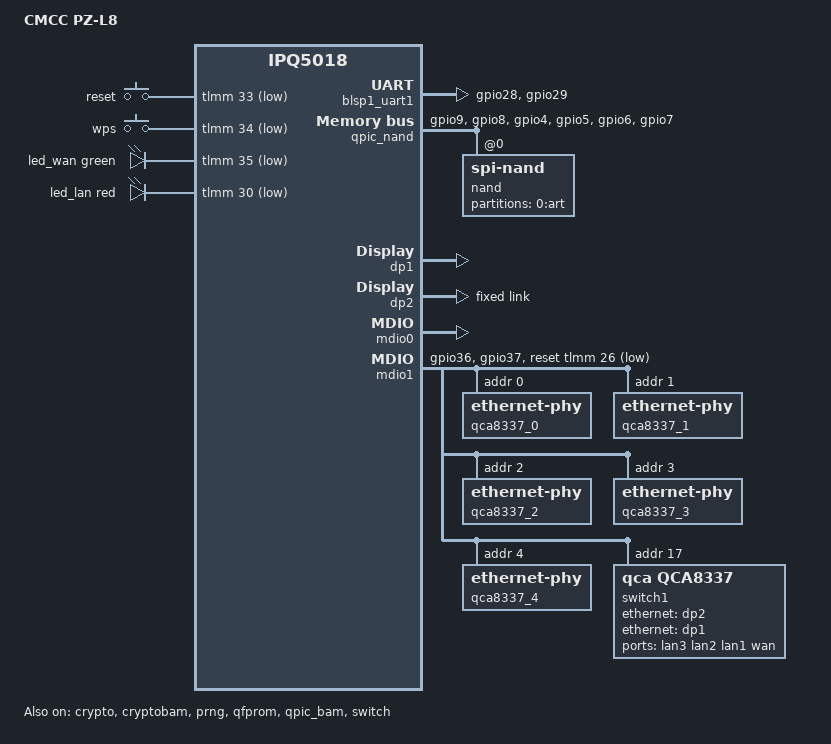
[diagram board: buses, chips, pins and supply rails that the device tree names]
// SPDX-License-Identifier: GPL-2.0-or-later OR MIT

/dts-v1/;

#include "ipq5018.dtsi"
#include "ipq5018-ess.dtsi"
#include "ipq5018-qcn6122.dtsi"

#include <dt-bindings/gpio/gpio.h>
#include <dt-bindings/input/input.h>
#include <dt-bindings/leds/common.h>

/ {
	model = "CMCC PZ-L8";
	compatible = "cmcc,pz-l8", "qcom,ipq5018";

	aliases {
		serial0 = &blsp1_uart1;
		led-boot = &led_wan;
		led-failsafe = &led_lan;
		led-running = &led_wan;
		led-upgrade = &led_lan;
		label-mac-device = <&dp1>;
	};

	chosen {
		bootargs-append = " root=/dev/ubiblock0_1 swiotlb=1 coherent_pool=2M";
		stdout-path = "serial0:115200n8";
	};

	keys {
		compatible = "gpio-keys";
		pinctrl-0 = <&button_pins>;
		pinctrl-names = "default";

		reset-button {
			label = "reset";
			gpios = <&tlmm 33 GPIO_ACTIVE_LOW>;
			linux,code = <KEY_RESTART>;
		};

		wps-button {
			label = "wps";
			gpios = <&tlmm 34 GPIO_ACTIVE_LOW>;
			linux,code = <KEY_WPS_BUTTON>;
		};
	};

	leds {
		compatible = "gpio-leds";
		pinctrl-0 = <&led_pins>;
		pinctrl-names = "default";

		led_wan: led-0 {
			gpios = <&tlmm 35 GPIO_ACTIVE_LOW>;
			color = <LED_COLOR_ID_GREEN>;
			function = LED_FUNCTION_WAN;
			default-state = "off";
		};

		led_lan: led-1 {
			gpios = <&tlmm 30 GPIO_ACTIVE_LOW>;
			color = <LED_COLOR_ID_RED>;
			function = LED_FUNCTION_LAN;
		};
	};
};

&sleep_clk {
	clock-frequency = <32000>;
};

&xo_board_clk {
	clock-div = <4>;
	clock-mult = <1>;
};

&blsp1_uart1 {
	status = "okay";

	pinctrl-0 = <&serial_0_pins>;
	pinctrl-names = "default";
};

&crypto {
	status = "okay";
};

&cryptobam {
	status = "okay";
};

&prng {
	status = "okay";
};

&qfprom {
	status = "okay";
};

&qpic_bam {
	status = "okay";
};

&qpic_nand {
	pinctrl-0 = <&qpic_pins>;
	pinctrl-names = "default";
	status = "okay";

	nand@0 {
		compatible = "spi-nand";
		reg = <0>;
		nand-ecc-engine = <&qpic_nand>;
		nand-bus-width = <8>;

		partitions {
			compatible = "qcom,smem-part";

			partition-art {
				label = "0:art";
				read-only;

				nvmem-layout {
					compatible = "fixed-layout";
					#address-cells = <1>;
					#size-cells = <1>;

					hw_mac_addr: mac-address@0 {
						compatible = "mac-base";
						reg = <0x0 0x6>;
						#nvmem-cell-cells = <1>;
					};
				};
			};
		};
	};
};

&switch {
	status = "okay";

	switch_mac_mode = <MAC_MODE_SGMII_CHANNEL0>;

	qcom,port_phyinfo {
		// MAC0 -> GE Phy --- MDI --- QCA8337 Phy4(Port5)
		port@1 {
			port_id = <1>;
			mdiobus = <&mdio0>;
			phy_address = <7>;
		};

		// MAC1 -> Uniphy --- SGMII --- QCA8337 SerDes(Port6)
		port@2 {
			port_id = <2>;
			mdiobus = <&mdio1>;
			forced-speed = <1000>;
			forced-duplex = <1>;
		};
	};
};

// MAC0 -> GE Phy
&dp1 {
	status = "okay";

	nvmem-cells = <&hw_mac_addr 0>;
	nvmem-cell-names = "mac-address";
};

// MAC1 -> SGMII
&dp2 {
	status = "okay";

	nvmem-cells = <&hw_mac_addr 1>;
	nvmem-cell-names = "mac-address";

	fixed-link {
		speed = <1000>;
		full-duplex;
	};
};

&mdio0 {
	status = "okay";
};

// MAC0 -> GE Phy -> QCA8337 Phy4
&ge_phy {
	qcom,dac-preset-short-cable;
};

&mdio1 {
	status = "okay";

	pinctrl-0 = <&mdio1_pins>;
	pinctrl-names = "default";
	reset-gpios = <&tlmm 26 GPIO_ACTIVE_LOW>;

	// QCA8337 Phy0 -> LAN3
	qca8337_0: ethernet-phy@0 {
		reg = <0>;
	};

	// QCA8337 Phy1 -> LAN2
	qca8337_1: ethernet-phy@1 {
		reg = <1>;
	};

	// QCA8337 Phy2 -> LAN1
	qca8337_2: ethernet-phy@2 {
		reg = <2>;
	};

	// QCA8337 Phy3 -> WAN
	qca8337_3: ethernet-phy@3 {
		reg = <3>;
	};

	// QCA8337 Phy4 -> IPQ5018 GE Phy
	qca8337_4: ethernet-phy@4 {
		reg = <4>;
	};

	// QCA8337 switch
	switch1: ethernet-switch@17 {
		compatible = "qca,qca8337";
		reg = <17>;
		#address-cells = <1>;
		#size-cells = <0>;

		ports {
			#address-cells = <1>;
			#size-cells = <0>;

			port@0 {
				reg = <0>;
				phy-mode = "sgmii";
				ethernet = <&dp2>;
				qca,sgmii-enable-pll;

				fixed-link {
					speed = <1000>;
					full-duplex;
				};
			};

			port@1 {
				reg = <1>;
				label = "lan3";
				phy-handle = <&qca8337_0>;
			};

			port@2 {
				reg = <2>;
				label = "lan2";
				phy-handle = <&qca8337_1>;
			};

			port@3 {
				reg = <3>;
				label = "lan1";
				phy-handle = <&qca8337_2>;
			};

			port@4 {
				reg = <4>;
				label = "wan";
				phy-handle = <&qca8337_3>;
			};

			port@5 {
				reg = <5>;
				phy-handle = <&qca8337_4>;
				phy-mode = "gmii";
				ethernet = <&dp1>;
			};
		};
	};
};

&tlmm {
	button_pins: button-state {
		button-pins {
			pins = "gpio34", "gpio33";
			function = "gpio";
			drive-strength = <8>;
			bias-pull-up;
		};

	};

	led_pins: led-state {
		pins = "gpio35", "gpio30";
		function = "gpio";
		drive-strength = <8>;
		bias-pull-down;
	};

	mdio1_pins: mdio-state {
		mdc-pins {
			pins = "gpio36";
			function = "mdc";
			drive-strength = <8>;
			bias-pull-up;
		};

		mdio-pins {
			pins = "gpio37";
			function = "mdio";
			drive-strength = <8>;
			bias-pull-up;
		};
	};

	qpic_pins: qpic-state {
		clock-pins {
			pins = "gpio9";
			function = "qspi_clk";
			drive-strength = <8>;
			bias-disable;
		};

		cs-pins {
			pins = "gpio8";
			function = "qspi_cs";
			drive-strength = <8>;
			bias-disable;
		};

		data-pins {
			pins = "gpio4", "gpio5", "gpio6", "gpio7";
			function = "qspi_data";
			drive-strength = <8>;
			bias-disable;
		};
	};

	serial_0_pins: uart0-state {
		pins = "gpio28", "gpio29";
		function = "blsp0_uart1";
		drive-strength = <8>;
		bias-disable;
	};

	switch_reset_pins: switch-reset-state {
		pins = "gpio26";
		function = "gpio";
		drive-strength = <8>;
		bias-pull-down;
	};
};

/*
 * ath11k Wi-Fi consumes too large memory spaces and too few spaces are
 * available for users. To prevent OOM when using LuCI or other softwares,
 * disable Wi-Fi related peripherals at the moment.
 */
&q6v5_wcss {
	status = "disabled";
};

&wifi {
	// IPQ5018
	qcom,rproc = <&q6_wcss_pd1>;
	qcom,ath11k-calibration-variant = "CMCC-PZ-L8";
	qcom,ath11k-fw-memory-mode = <1>;
	qcom,bdf-addr = <0x4c400000>;

	ieee80211-freq-limit = <2400000 2483000>;

	status = "disabled";
};

&wifi1 {
	// QCN6102 5G
	qcom,rproc = <&q6_wcss_pd2>;
	qcom,userpd-subsys-name = "q6v5_wcss_userpd2";
	qcom,ath11k-calibration-variant = "CMCC-PZ-L8";
	qcom,ath11k-fw-memory-mode = <1>;
	qcom,bdf-addr = <0x4d100000>;
	qcom,m3-dump-addr = <0x4df00000>;

	ieee80211-freq-limit = <5150000 5730000>;

	status = "disabled";
};
